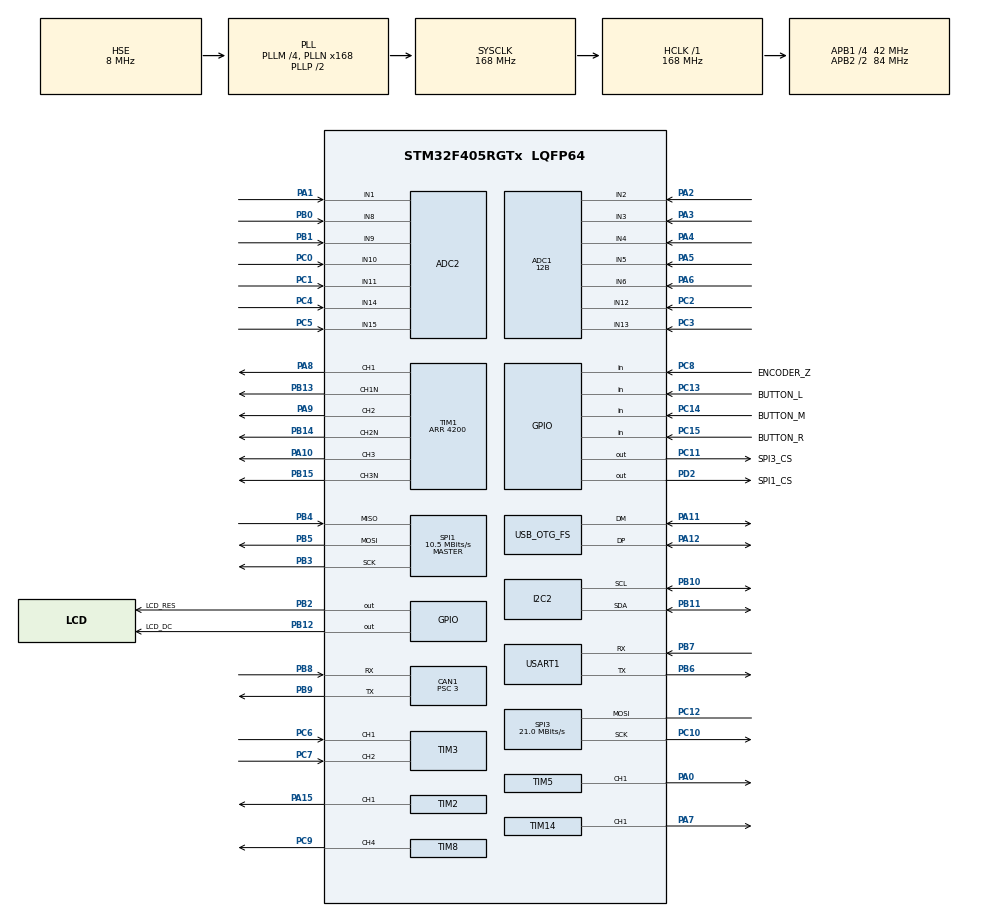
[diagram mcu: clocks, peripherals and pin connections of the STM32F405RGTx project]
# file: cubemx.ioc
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ADC1.Channel-0\#ChannelRegularConversion=ADC_CHANNEL_6
ADC1.Channel-1\#ChannelRegularConversion=ADC_CHANNEL_5
ADC1.Channel-2\#ChannelRegularConversion=ADC_CHANNEL_4
ADC1.Channel-3\#ChannelRegularConversion=ADC_CHANNEL_2
ADC1.Channel-4\#ChannelRegularConversion=ADC_CHANNEL_3
ADC1.Channel-5\#ChannelRegularConversion=ADC_CHANNEL_12
ADC1.Channel-6\#ChannelRegularConversion=ADC_CHANNEL_13
ADC1.ContinuousConvMode=DISABLE
ADC1.DMAContinuousRequests=ENABLE
ADC1.InjNumberOfConversion=0
ADC1.NbrOfConversion=7
ADC1.NbrOfConversionFlag=1
ADC1.Rank-0\#ChannelRegularConversion=1
ADC1.Rank-1\#ChannelRegularConversion=2
ADC1.Rank-2\#ChannelRegularConversion=3
ADC1.Rank-3\#ChannelRegularConversion=4
ADC1.Rank-4\#ChannelRegularConversion=5
ADC1.Rank-5\#ChannelRegularConversion=6
ADC1.Rank-6\#ChannelRegularConversion=7
ADC1.Resolution=ADC_RESOLUTION_12B
ADC1.SamplingTime-0\#ChannelRegularConversion=ADC_SAMPLETIME_3CYCLES
ADC1.SamplingTime-1\#ChannelRegularConversion=ADC_SAMPLETIME_3CYCLES
ADC1.SamplingTime-2\#ChannelRegularConversion=ADC_SAMPLETIME_3CYCLES
ADC1.SamplingTime-3\#ChannelRegularConversion=ADC_SAMPLETIME_3CYCLES
ADC1.SamplingTime-4\#ChannelRegularConversion=ADC_SAMPLETIME_3CYCLES
ADC1.SamplingTime-5\#ChannelRegularConversion=ADC_SAMPLETIME_3CYCLES
ADC1.SamplingTime-6\#ChannelRegularConversion=ADC_SAMPLETIME_3CYCLES
ADC1.ScanConvMode=ENABLE
ADC1.master=1
ADC2.Channel-0\#ChannelRegularConversion=ADC_CHANNEL_1
ADC2.NbrOfConversionFlag=1
ADC2.Rank-0\#ChannelRegularConversion=1
ADC2.SamplingTime-0\#ChannelRegularConversion=ADC_SAMPLETIME_3CYCLES
CAN1.ABOM=ENABLE
CAN1.BS1=CAN_BS1_9TQ
CAN1.BS2=CAN_BS2_4TQ
CAN1.CalculateBaudRate=1000000
CAN1.CalculateTimeBit=1000
CAN1.CalculateTimeQuantum=71.42857142857143
CAN1.Prescaler=3
Dma.ADC1.2.Direction=DMA_PERIPH_TO_MEMORY
Dma.ADC1.2.FIFOMode=DMA_FIFOMODE_DISABLE
Dma.ADC1.2.Instance=DMA2_Stream0
Dma.ADC1.2.MemDataAlignment=DMA_MDATAALIGN_HALFWORD
Dma.ADC1.2.MemInc=DMA_MINC_ENABLE
Dma.ADC1.2.Mode=DMA_CIRCULAR
Dma.ADC1.2.PeriphDataAlignment=DMA_PDATAALIGN_HALFWORD
Dma.ADC1.2.PeriphInc=DMA_PINC_DISABLE
Dma.ADC1.2.Priority=DMA_PRIORITY_HIGH
Dma.Request0=USART1_RX
Dma.Request1=USART1_TX
Dma.Request2=ADC1
Dma.USART1_RX.0.Direction=DMA_PERIPH_TO_MEMORY
Dma.USART1_RX.0.FIFOMode=DMA_FIFOMODE_DISABLE
Dma.USART1_RX.0.Instance=DMA2_Stream2
Dma.USART1_RX.0.MemDataAlignment=DMA_MDATAALIGN_BYTE
Dma.USART1_RX.0.MemInc=DMA_MINC_ENABLE
Dma.USART1_RX.0.Mode=DMA_CIRCULAR
Dma.USART1_RX.0.PeriphDataAlignment=DMA_PDATAALIGN_BYTE
Dma.USART1_RX.0.PeriphInc=DMA_PINC_DISABLE
Dma.USART1_RX.0.Priority=DMA_PRIORITY_LOW
Dma.USART1_TX.1.Direction=DMA_MEMORY_TO_PERIPH
Dma.USART1_TX.1.FIFOMode=DMA_FIFOMODE_DISABLE
Dma.USART1_TX.1.Instance=DMA2_Stream7
Dma.USART1_TX.1.MemDataAlignment=DMA_MDATAALIGN_BYTE
Dma.USART1_TX.1.MemInc=DMA_MINC_ENABLE
Dma.USART1_TX.1.Mode=DMA_NORMAL
Dma.USART1_TX.1.PeriphDataAlignment=DMA_PDATAALIGN_BYTE
Dma.USART1_TX.1.PeriphInc=DMA_PINC_DISABLE
Dma.USART1_TX.1.Priority=DMA_PRIORITY_LOW
Mcu.Family=STM32F4
Mcu.Name=STM32F405RGTx
Mcu.Package=LQFP64
NVIC.ADC_IRQn=true\:2\:0\:true\:false\:true\:true\:true\:true
NVIC.CAN1_RX0_IRQn=true\:4\:0\:true\:false\:true\:true\:true\:true
NVIC.DMA2_Stream0_IRQn=true\:0\:0\:false\:false\:true\:false\:true\:true
NVIC.DMA2_Stream2_IRQn=true\:0\:0\:false\:false\:true\:false\:true\:true
NVIC.DMA2_Stream7_IRQn=true\:0\:0\:false\:false\:true\:false\:true\:true
NVIC.PriorityGroup=NVIC_PRIORITYGROUP_4
NVIC.TIM1_UP_TIM10_IRQn=true\:3\:0\:true\:false\:true\:true\:true\:true
NVIC.TIM4_IRQn=true\:5\:0\:true\:false\:true\:true\:true\:true
NVIC.USART1_IRQn=true\:10\:0\:true\:false\:true\:true\:true\:true
PA0-WKUP.Signal=S_TIM5_CH1
PA1.Signal=ADCx_IN1
PA10.Signal=S_TIM1_CH3
PA11.Mode=Device_Only
PA11.Signal=USB_OTG_FS_DM
PA12.Mode=Device_Only
PA12.Signal=USB_OTG_FS_DP
PA13.Mode=Serial_Wire
PA13.Signal=SYS_JTMS-SWDIO
PA14.Mode=Serial_Wire
PA14.Signal=SYS_JTCK-SWCLK
PA15.Signal=S_TIM2_CH1_ETR
PA2.Signal=ADCx_IN2
PA3.Signal=ADCx_IN3
PA4.Signal=ADCx_IN4
PA5.Signal=ADCx_IN5
PA6.Signal=ADCx_IN6
PA7.Signal=S_TIM14_CH1
PA8.Signal=S_TIM1_CH1
PA9.Signal=S_TIM1_CH2
PB0.Signal=ADCx_IN8
PB1.Signal=ADCx_IN9
PB10.Mode=I2C
PB10.Signal=I2C2_SCL
PB11.Mode=I2C
PB11.Signal=I2C2_SDA
PB12.GPIO_Label=LCD_DC
PB12.Signal=GPIO_Output
PB13.Mode=PWM Generation1 CH1 CH1N
PB13.Signal=TIM1_CH1N
PB14.Mode=PWM Generation2 CH2 CH2N
PB14.Signal=TIM1_CH2N
PB15.Mode=PWM Generation3 CH3 CH3N
PB15.Signal=TIM1_CH3N
PB2.GPIO_Label=LCD_RES
PB2.Signal=GPIO_Output
PB3.Mode=Full_Duplex_Master
PB3.Signal=SPI1_SCK
PB4.Mode=Full_Duplex_Master
PB4.Signal=SPI1_MISO
PB5.Mode=Full_Duplex_Master
PB5.Signal=SPI1_MOSI
PB6.Mode=Asynchronous
PB6.Signal=USART1_TX
PB7.Mode=Asynchronous
PB7.Signal=USART1_RX
PB8.Mode=CAN_Activate
PB8.Signal=CAN1_RX
PB9.Mode=CAN_Activate
PB9.Signal=CAN1_TX
PC0.Signal=ADCx_IN10
PC1.Signal=ADCx_IN11
PC10.Mode=Simplex_Bidirectional_Master
PC10.Signal=SPI3_SCK
PC11.GPIO_Label=SPI3_CS
PC11.Signal=GPIO_Output
PC12.Mode=Simplex_Bidirectional_Master
PC12.Signal=SPI3_MOSI
PC13-ANTI_TAMP.GPIO_Label=BUTTON_L
PC13-ANTI_TAMP.GPIO_PuPd=GPIO_PULLUP
PC13-ANTI_TAMP.Signal=GPIO_Input
PC14-OSC32_IN.GPIO_Label=BUTTON_M
PC14-OSC32_IN.GPIO_PuPd=GPIO_PULLUP
PC14-OSC32_IN.Signal=GPIO_Input
PC15-OSC32_OUT.GPIO_Label=BUTTON_R
PC15-OSC32_OUT.GPIO_PuPd=GPIO_PULLUP
PC15-OSC32_OUT.Signal=GPIO_Input
PC2.Signal=ADCx_IN12
PC3.Signal=ADCx_IN13
PC4.Signal=ADCx_IN14
PC5.Signal=ADCx_IN15
PC6.Signal=S_TIM3_CH1
PC7.Signal=S_TIM3_CH2
PC8.GPIO_Label=ENCODER_Z
PC8.Signal=GPIO_Input
PC9.Signal=S_TIM8_CH4
PD2.GPIO_Label=SPI1_CS
PD2.Signal=GPIO_Output
PH0-OSC_IN.Mode=HSE-External-Oscillator
PH0-OSC_IN.Signal=RCC_OSC_IN
PH1-OSC_OUT.Mode=HSE-External-Oscillator
PH1-OSC_OUT.Signal=RCC_OSC_OUT
ProjectManager.HeapSize=0x200
ProjectManager.StackSize=0x400
ProjectManager.TargetToolchain=Makefile
RCC.48MHZClocksFreq_Value=48000000
RCC.AHBFreq_Value=168000000
RCC.APB1CLKDivider=RCC_HCLK_DIV4
RCC.APB1Freq_Value=42000000
RCC.APB1TimFreq_Value=84000000
RCC.APB2CLKDivider=RCC_HCLK_DIV2
RCC.APB2Freq_Value=84000000
RCC.APB2TimFreq_Value=168000000
RCC.CortexFreq_Value=168000000
RCC.HCLKFreq_Value=168000000
RCC.HSE_VALUE=8000000
RCC.HSI_VALUE=16000000
RCC.LSE_VALUE=32768
RCC.PLLM=4
RCC.PLLN=168
RCC.PLLQ=7
RCC.SYSCLKFreq_VALUE=168000000
RCC.SYSCLKSource=RCC_SYSCLKSOURCE_PLLCLK
RCC.VCOOutputFreq_Value=336000000
SH.ADCx_IN1.0=ADC1_IN1
SH.ADCx_IN1.1=ADC2_IN1,IN1
SH.ADCx_IN10.0=ADC2_IN10,IN10
SH.ADCx_IN11.0=ADC2_IN11,IN11
SH.ADCx_IN12.0=ADC1_IN12,IN12
SH.ADCx_IN13.0=ADC1_IN13,IN13
SH.ADCx_IN14.0=ADC2_IN14,IN14
SH.ADCx_IN15.0=ADC2_IN15,IN15
SH.ADCx_IN2.0=ADC1_IN2,IN2
SH.ADCx_IN3.0=ADC1_IN3,IN3
SH.ADCx_IN4.0=ADC1_IN4,IN4
SH.ADCx_IN5.0=ADC1_IN5,IN5
SH.ADCx_IN6.0=ADC1_IN6,IN6
SH.ADCx_IN8.0=ADC2_IN8,IN8
SH.ADCx_IN9.0=ADC2_IN9,IN9
SH.S_TIM14_CH1.0=TIM14_CH1,PWM Generation1 CH1
SH.S_TIM1_CH1.0=TIM1_CH1,PWM Generation1 CH1 CH1N
SH.S_TIM1_CH2.0=TIM1_CH2,PWM Generation2 CH2 CH2N
SH.S_TIM1_CH3.0=TIM1_CH3,PWM Generation3 CH3 CH3N
SH.S_TIM2_CH1_ETR.0=TIM2_CH1,PWM Generation1 CH1
SH.S_TIM3_CH1.0=TIM3_CH1,Encoder_Interface
SH.S_TIM3_CH2.0=TIM3_CH2,Encoder_Interface
SH.S_TIM5_CH1.0=TIM5_CH1,PWM Generation1 CH1
SH.S_TIM8_CH4.0=TIM8_CH4,PWM Generation4 CH4
SPI1.BaudRatePrescaler=SPI_BAUDRATEPRESCALER_8
SPI1.CLKPhase=SPI_PHASE_2EDGE
SPI1.CalculateBaudRate=10.5 MBits/s
SPI1.DataSize=SPI_DATASIZE_16BIT
SPI1.Direction=SPI_DIRECTION_2LINES
SPI1.Mode=SPI_MODE_MASTER
SPI1.VirtualType=VM_MASTER
SPI3.CalculateBaudRate=21.0 MBits/s
SPI3.Direction=SPI_DIRECTION_1LINE
SPI3.Mode=SPI_MODE_MASTER
SPI3.VirtualType=VM_MASTER
TIM1.AutoReloadPreload=TIM_AUTORELOAD_PRELOAD_ENABLE
TIM1.Channel-PWM\ Generation1\ CH1\ CH1N=TIM_CHANNEL_1
TIM1.Channel-PWM\ Generation2\ CH2\ CH2N=TIM_CHANNEL_2
TIM1.Channel-PWM\ Generation3\ CH3\ CH3N=TIM_CHANNEL_3
TIM1.CounterMode=TIM_COUNTERMODE_CENTERALIGNED1
TIM1.DeadTime=85
TIM1.Period=4200
TIM14.Channel=TIM_CHANNEL_1
TIM2.Channel-PWM\ Generation1\ CH1=TIM_CHANNEL_1
TIM2.Period=10000-1
TIM2.Prescaler=42-1
TIM4.Period=100-1
TIM4.Prescaler=84-1
TIM5.Channel-PWM\ Generation1\ CH1=TIM_CHANNEL_1
TIM5.Prescaler=84-1
TIM8.Channel-PWM\ Generation4\ CH4=TIM_CHANNEL_4
USART1.VirtualMode=VM_ASYNC
USB_OTG_FS.VirtualMode=Device_Only
VP_TIM14_VS_ClockSourceINT.Mode=Enable_Timer
VP_TIM1_VS_ClockSourceINT.Mode=Internal
VP_TIM4_VS_ClockSourceINT.Mode=Internal
board=custom

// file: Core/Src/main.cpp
/* USER CODE BEGIN Header */
/**
 ******************************************************************************
 * @file           : main.c
 * @brief          : Main program body
 ******************************************************************************
 * @attention
 *
 * Copyright (c) 2024 STMicroelectronics.
 * All rights reserved.
 *
 * This software is licensed under terms that can be found in the LICENSE file
 * in the root directory of this software component.
 * If no LICENSE file comes with this software, it is provided AS-IS.
 *
 ******************************************************************************
 */
/* USER CODE END Header */
#include "main.h"
#include "adc.h"
#include "can.h"
#include "dma.h"
#include "i2c.h"
#include "spi.h"
#include "tim.h"
#include "usart.h"
#include "usb_otg.h"
#include "gpio.h"

/* USER CODE BEGIN Includes */
#include "usart_cpp/bsp_usart.hpp"
#include "Beep/bsp_beep.h"
#include "timer/timer.hpp"
#include "st7735s/bsp_st7735s.h"
#include "Can/bsp_can.h"
#include "tle5012b/bsp_tle5012b.h"
#include "Key_cpp/bsp_key.hpp"
#include "foc_cpp/bsp_foc.hpp"
#include "app_encoder/app_encoder.hpp"
#include "serialdebug/bsp_serialdebug.hpp"
/* USER CODE END Includes */

void SystemClock_Config(void);

int main(void)
{

  /* MCU Configuration--------------------------------------------------------*/

  /* Reset of all peripherals, Initializes the Flash interface and the Systick. */
  HAL_Init();

  /* Configure the system clock */
  SystemClock_Config();

  /* Initialize all configured peripherals */
  MX_GPIO_Init();
  MX_DMA_Init();
  MX_TIM1_Init();
  MX_ADC1_Init();
  MX_CAN1_Init();
  MX_I2C2_Init();
  MX_SPI1_Init();
  MX_SPI3_Init();
  MX_TIM2_Init();
  MX_TIM3_Init();
  MX_TIM5_Init();
  MX_TIM8_Init();
  MX_TIM14_Init();
  MX_USART1_UART_Init();
  MX_USB_OTG_FS_PCD_Init();
  MX_TIM4_Init();
  MX_ADC2_Init();
  /* USER CODE BEGIN 2 */

  /* 按键初始化 */
  Button_L.clean();
  Button_M.clean();
  Button_R.clean();

  /* 电机初始化 */
  motor.set_encoder(&HallEncoder);
  motor.encoder_dir = REVERSE;
  motor.set_PID_IQ(&motor_pid_IQ);
  motor.set_PID_ID(&motor_pid_ID);
  motor.set_PID_IN(&motor_pid_in);
  motor.set_PID_OUT(&motor_pid_out);
  motor.set_voltage_limit(12, 13);
  motor.set_ZeroElectricalAngle(0.874368f); // 三孔小电机
  // motor.set_ZeroElectricalAngle(2.365873f);
  motor.init();

  /* motor 电流采样初始化 */
  motor.set_current_sensor(&foc_current_sensor);
  motor._current_sensor->init(0, 1, 2);
  //  motor._current_sensor->init(3, 4, 5);
  motor._current_sensor->calibration(100);

  /* 串口初始化 */
  USART_Debug_DMA_Init();

  /* CAN 初始化 */
  bsp_can_Init();

  /* st7735s 显示屏初始化 */
  bsp_st7735s_init(R0);

  /* 播放启动音乐 */
  // bsp_beep_Music_Play(warning);

  /* 默认电机上电 */
  // motor.enable();
  motor.disable();
  // motor.set_speed(60);
  motor.set_speed(60, openloop);
  // motor.set_current(-0.5);
  // motor.set_speed(180);
  // motor.set_degree(360);

  /* vofa+ 初始化 */
  // serial_test.check_frame_length();

  /* 定时器初始化 */
  timer_init();

  // motor.init_ZeroElectricalAngle(1000);
  // motor.init_ZeroElectricalAngle(1000);
  // motor.init_ZeroElectricalAngle(1000);
  // motor.init_ZeroElectricalAngle(1000);
  // motor.init_ZeroElectricalAngle(1000);
  // motor.init_ZeroElectricalAngle(1000);
  // motor.init_ZeroElectricalAngle(1000);
  // motor.init_ZeroElectricalAngle(1000);

  /* USER CODE END 2 */

  /* Infinite loop */
  while (1)
  {

    /* USER CODE BEGIN 3 */

    // printf("hello world");

    // bsp_beep_Music_Handle();
    // printf("tle5012b = %f \r\n", ReadAngle());
    // printf("tle5012b = %f \r\n", motor._encoder->date);
    // printf("%5f  %5f  %5f\r\n",motor.Uu, motor.Uv, motor.Uw);
    // printf("Button State: %4d %4d %4d \r\n", Button_L.OUT_State, Button_M.OUT_State, Button_R.OUT_State);
    // printf("%5f  %5f  %5f\r\n",
    //        motor._current_sensor->phase_u.data,
    //        motor._current_sensor->phase_v.data,
    //        motor._current_sensor->phase_w.data);

    serial_test.config_data(motor.target_degree);
    serial_test.config_data(motor.degree);
    serial_test.config_data(motor.target_speed);
    serial_test.config_data(motor.speed);
    // serial_test.config_data(motor.target_current);
    // serial_test.config_data(motor.I_q);
    // serial_test.config_data(motor.U_q);

    serial_test.config_data(motor._current_sensor->phase_u.data);
    serial_test.config_data(motor._current_sensor->phase_v.data);
    serial_test.config_data(motor._current_sensor->phase_w.data);

    //  serial_test.config_data(motor.Svpwm_Mod.ta);
    // serial_test.config_data(motor.Svpwm_Mod.tb);
    // serial_test.config_data(motor.Svpwm_Mod.tc);

    serial_test.send_frame();

    // printf("%5f  %5f\r\n",
    //        motor.I_q,
    //        motor.I_d);

    if (Button_M.OUT_State == Button_ON)
    {
      motor.enable();
    }
    else
    {
      motor.disable();
    }

    HAL_Delay(1);
  }
  /* USER CODE END 3 */
}

void SystemClock_Config(void)
{
  RCC_OscInitTypeDef RCC_OscInitStruct = {0};
  RCC_ClkInitTypeDef RCC_ClkInitStruct = {0};

  /** Configure the main internal regulator output voltage
   */
  __HAL_RCC_PWR_CLK_ENABLE();
  __HAL_PWR_VOLTAGESCALING_CONFIG(PWR_REGULATOR_VOLTAGE_SCALE1);

  /** Initializes the RCC Oscillators according to the specified parameters
   * in the RCC_OscInitTypeDef structure.
   */
  RCC_OscInitStruct.OscillatorType = RCC_OSCILLATORTYPE_HSE;
  RCC_OscInitStruct.HSEState = RCC_HSE_ON;
  RCC_OscInitStruct.PLL.PLLState = RCC_PLL_ON;
  RCC_OscInitStruct.PLL.PLLSource = RCC_PLLSOURCE_HSE;
  RCC_OscInitStruct.PLL.PLLM = 4;
  RCC_OscInitStruct.PLL.PLLN = 168;
  RCC_OscInitStruct.PLL.PLLP = RCC_PLLP_DIV2;
  RCC_OscInitStruct.PLL.PLLQ = 7;
  if (HAL_RCC_OscConfig(&RCC_OscInitStruct) != HAL_OK)
  {
    Error_Handler();
  }

  /** Initializes the CPU, AHB and APB buses clocks
   */
  RCC_ClkInitStruct.ClockType = RCC_CLOCKTYPE_HCLK | RCC_CLOCKTYPE_SYSCLK | RCC_CLOCKTYPE_PCLK1 | RCC_CLOCKTYPE_PCLK2;
  RCC_ClkInitStruct.SYSCLKSource = RCC_SYSCLKSOURCE_PLLCLK;
  RCC_ClkInitStruct.AHBCLKDivider = RCC_SYSCLK_DIV1;
  RCC_ClkInitStruct.APB1CLKDivider = RCC_HCLK_DIV4;
  RCC_ClkInitStruct.APB2CLKDivider = RCC_HCLK_DIV2;

  if (HAL_RCC_ClockConfig(&RCC_ClkInitStruct, FLASH_LATENCY_5) != HAL_OK)
  {
    Error_Handler();
  }
}

void Error_Handler(void)
{
  __disable_irq();
  while (1)
  {
  }
}
